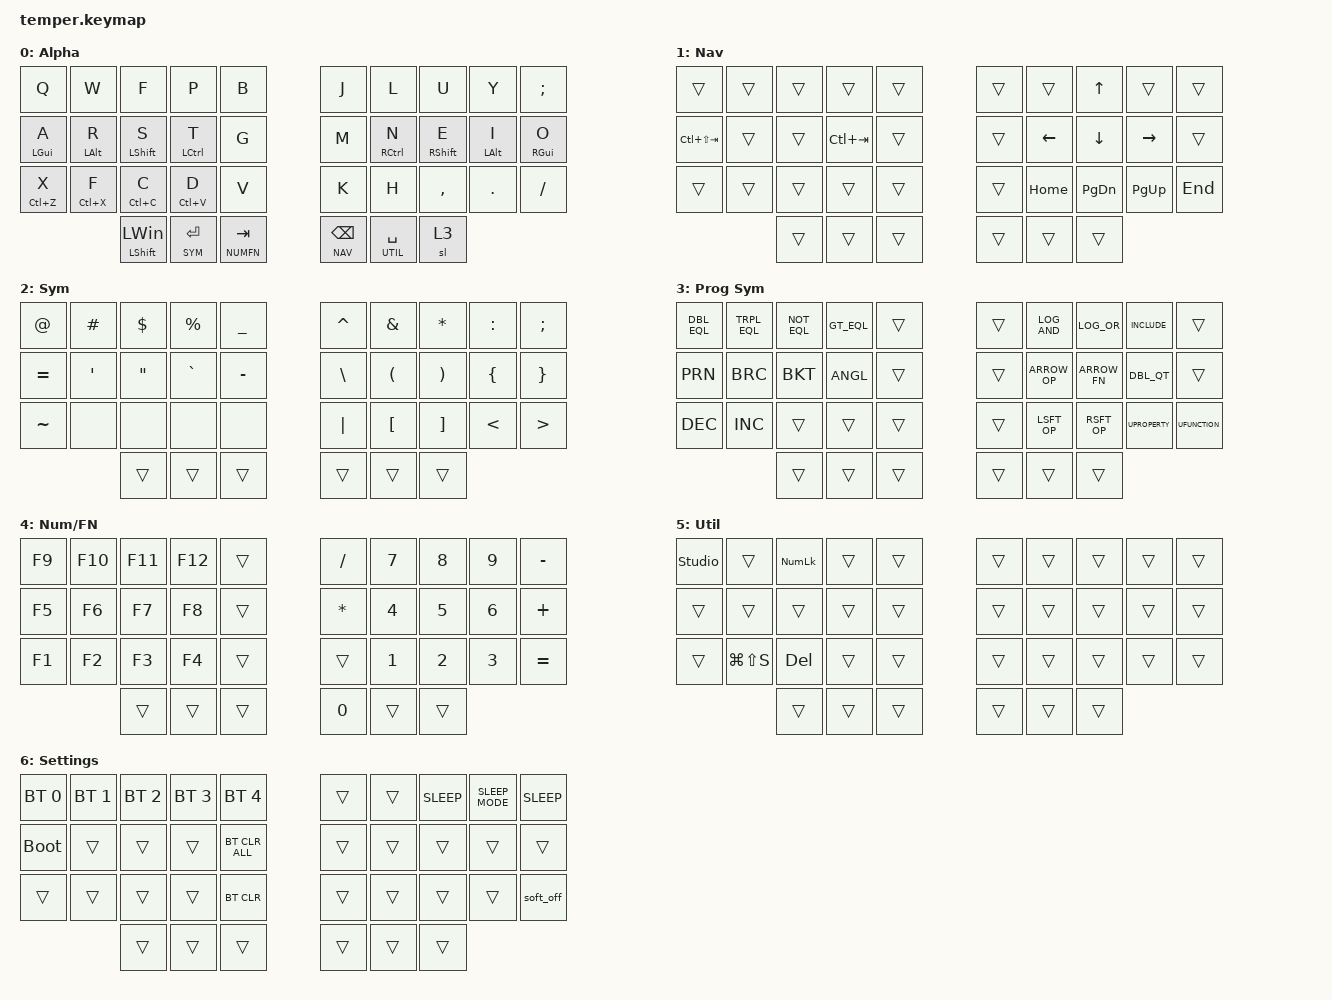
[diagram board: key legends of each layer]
/*
 * Copyright (c) 2020 The ZMK Contributors
 *
 * SPDX-License-Identifier: MIT
 */

#include "layers.conf"
#include "macros.conf"
#include <behaviors.dtsi>
#include <dt-bindings/zmk/bt.h>
#include <dt-bindings/zmk/keys.h>

/ {
macros {
        LOG_AND: LOG_AND {
            compatible = "zmk,behavior-macro";
            #binding-cells = <0>;
            bindings = <&macro_tap>, <&kp AMPS &kp AMPS>;
        };

        LOG_OR: LOG_OR {
            compatible = "zmk,behavior-macro";
            #binding-cells = <0>;
            bindings = <&macro_tap>, <&kp PIPE &kp PIPE>;
        };

        INCLUDE: INCLUDE {
            compatible = "zmk,behavior-macro";
            #binding-cells = <0>;
            bindings =
                <&macro_tap>,
                <&kp I &kp N &kp C &kp L &kp U &kp D &kp E &kp DQT &kp DQT &kp LEFT>;
        };

        ARROW_OP: ARROW_OP {
            compatible = "zmk,behavior-macro";
            #binding-cells = <0>;
            bindings = <&macro_tap>, <&kp MINUS &kp GT>;
        };

        ARROW_FN: ARROW_FN {
            compatible = "zmk,behavior-macro";
            #binding-cells = <0>;
            bindings = <&macro_tap>, <&kp EQUAL &kp GT>;
        };

        DBL_QT: DBL_QT {
            compatible = "zmk,behavior-macro";
            #binding-cells = <0>;
            bindings = <&macro_tap>, <&kp DQT &kp DQT &kp LEFT>;
        };

        LSFT_OP: LSFT_OP {
            compatible = "zmk,behavior-macro";
            #binding-cells = <0>;
            bindings = <&macro_tap>, <&kp LT &kp LT>;
        };

        RSFT_OP: RSFT_OP {
            compatible = "zmk,behavior-macro";
            #binding-cells = <0>;
            bindings = <&macro_tap>, <&kp GT &kp GT>;
        };

        UPROPERTY: UPROPERTY {
            compatible = "zmk,behavior-macro";
            #binding-cells = <0>;
            bindings =
                <&macro_tap>,
                <&kp LS(U) &kp LS(P) &kp LS(R) &kp LS(O) &kp LS(P) &kp LS(E) &kp LS(R) &kp LS(T) &kp LS(Y) &kp LPAR &kp RPAR &kp LEFT>;
        };

        UFUNCTION: UFUNCTION {
            compatible = "zmk,behavior-macro";
            #binding-cells = <0>;
            bindings =
                <&macro_tap>,
                <&kp LS(U) &kp LS(F) &kp LS(U) &kp LS(N) &kp LS(C) &kp LS(T) &kp LS(I) &kp LS(O) &kp LS(N) &kp LPAR &kp RPAR &kp LEFT>,
                <&macro_press>;
        };

        DBL_EQL: DBL_EQL {
            compatible = "zmk,behavior-macro";
            #binding-cells = <0>;
            bindings = <&macro_tap>, <&kp EQUAL &kp EQUAL>;
        };

        TRPL_EQL: TRPL_EQL {
            compatible = "zmk,behavior-macro";
            #binding-cells = <0>;
            bindings = <&macro_tap>, <&kp EQUAL &kp EQUAL &kp EQUAL>;
        };

        NOT_EQL: NOT_EQL {
            compatible = "zmk,behavior-macro";
            #binding-cells = <0>;
            bindings = <&macro_tap>, <&kp EXCL &kp EQUAL>;
        };

        GT_EQL: GT_EQL {
            compatible = "zmk,behavior-macro";
            #binding-cells = <0>;
            bindings = <&macro_tap>, <&kp GT &kp EQUAL>;
        };

        LT_EQL: LT_EQL {
            compatible = "zmk,behavior-macro";
            #binding-cells = <0>;
            bindings = <&macro_tap>, <&kp LT &kp EQUAL>;
        };

        PRN: PRN {
            compatible = "zmk,behavior-macro";
            #binding-cells = <0>;
            bindings = <&macro_tap>, <&kp LPAR &kp RPAR &kp LEFT>;
        };

        BRC: BRC {
            compatible = "zmk,behavior-macro";
            #binding-cells = <0>;
            bindings = <&macro_tap>, <&kp LBRC &kp RBRC &kp LEFT>;
        };

        BKT: BKT {
            compatible = "zmk,behavior-macro";
            #binding-cells = <0>;
            bindings = <&macro_tap>, <&kp LBKT &kp RBKT &kp LEFT>;
        };

        ANGL: ANGL {
            compatible = "zmk,behavior-macro";
            #binding-cells = <0>;
            bindings = <&macro_tap>, <&kp LT &kp GT &kp LEFT>;
        };

        INC: INC {
            compatible = "zmk,behavior-macro";
            #binding-cells = <0>;
            bindings = <&macro_tap>, <&kp PLUS &kp PLUS>;
        };

        DEC: DEC {
            compatible = "zmk,behavior-macro";
            #binding-cells = <0>;
            bindings = <&macro_tap>, <&kp MINUS &kp MINUS>;
        };
    };
    behaviors {
        hm: homerow_mods {
            compatible = "zmk,behavior-hold-tap";
            #binding-cells = <2>;
            tapping-term-ms = <200>;
            flavor = "tap-preferred";
            bindings = <&kp>, <&kp>;
        };

        kp_sl: behavior_kp_sl {
            compatible = "zmk,behavior-hold-tap";
            #binding-cells = <2>;
            flavor = "hold-preferred";
            tapping-term-ms = <200>;
            bindings = <&sl>, <&kp>;
        };

        ht: behavior_hold_tap_key {
            compatible = "zmk,behavior-hold-tap";
            #binding-cells = <2>;
            flavor = "hold-preferred";
            tapping-term-ms = <300>;
            bindings = <&kp>, <&kp>;
        };

        bspc_del: backspace_delete {
            compatible = "zmk,behavior-mod-morph";
            #binding-cells = <0>;
            bindings = <&kp BACKSPACE>, <&kp DELETE>;

            mods = <(MOD_LSFT|MOD_RSFT)>;
            keep-mods = <(MOD_RSFT)>;
        };

        super_bspc: super_backspace {
            compatible = "zmk,behavior-mod-morph";
            #binding-cells = <0>;
            bindings = <&kp BACKSPACE>, <&kp LA(BACKSPACE)>;

            mods = <(MOD_LSFT|MOD_RSFT)>;
        };

        smart_shft: smart_shift {
            compatible = "zmk,behavior-mod-morph";
            #binding-cells = <0>;
            bindings = <&kp LSHFT>, <&caps_word>;

            mods = <(MOD_LSFT)>;
        };

        comma_semi: comma_semi {
            compatible = "zmk,behavior-mod-morph";
            #binding-cells = <0>;
            bindings = <&kp COMMA>, <&kp SEMI>;

            mods = <(MOD_LSFT)>;
        };

        dot_colon: dot_colon {
            compatible = "zmk,behavior-mod-morph";
            #binding-cells = <0>;
            bindings = <&kp DOT>, <&kp COLON>;

            mods = <(MOD_LSFT)>;
        };

        qmrk_excl: qmrk_excl {
            compatible = "zmk,behavior-mod-morph";
            #binding-cells = <0>;
            bindings = <&kp QMARK>, <&kp EXCL>;

            mods = <(MOD_LSFT)>;
        };

        slh_morph: slh_morph {
            compatible = "zmk,behavior-mod-morph";
            #binding-cells = <0>;
            bindings = <&kp FSLH>, <&kp BSLH>;

            mods = <(MOD_LSFT)>;
        };

        amps_morph: amps_morph {
            compatible = "zmk,behavior-mod-morph";
            #binding-cells = <0>;
            bindings = <&kp AMPS>, <&kp PIPE>;

            mods = <(MOD_LSFT)>;
        };
    };

    conditional_layers {
        compatible = "zmk,conditional-layers";

        settings_trigger {
            if-layers = <1 4>;
            then-layer = <6>;
        };
    };

    combos { compatible = "zmk,combos"; };

    keymap {
        compatible = "zmk,keymap";

        default_layer {
            display-name = "Alpha";
            bindings = <
  &kp Q        &kp W        &kp F                    &kp P          &kp B            &kp J              &kp L           &kp U        &kp Y       &kp SEMICOLON
  &hm LGUI A   &hm LALT R   &hm LSHFT S              &hm LCTRL T    &kp G            &kp M              &hm RCTRL N     &hm RSHFT E  &hm LALT I  &hm RGUI O
  &mt LC(Z) X  &mt LC(X) F  &mt LC(C) C              &mt LC(V) D    &kp V            &kp K              &kp H           &kp COMMA    &kp PERIOD  &kp SLASH
                            &ht LEFT_SHIFT LEFT_WIN  &lt SYM ENTER  &lt NUMFN TAB    &lt NAV BACKSPACE  &lt UTIL SPACE  &sl 3
            >;
        };

        nav_layer {
            display-name = "Nav";
            bindings = <
  &trans           &trans  &trans  &trans       &trans    &trans  &trans    &kp UP     &trans     &trans
  &kp LC(LS(TAB))  &trans  &trans  &kp LC(TAB)  &trans    &trans  &kp LEFT  &kp DOWN   &kp RIGHT  &trans
  &trans           &trans  &trans  &trans       &trans    &trans  &kp HOME  &kp PG_DN  &kp PG_UP  &kp END
                           &trans  &trans       &trans    &trans  &trans    &trans
            >;
        };

        sym_layer {
            display-name = "Sym";
            bindings = <
  &kp AT     &kp HASH  &kp DLLR  &kp PRCNT  &kp UNDER    &kp CARET  &kp AMPS  &kp STAR  &kp COLON  &kp SEMI
  &kp EQUAL  &kp APOS  &kp DQT   &kp GRAVE  &kp MINUS    &kp BSLH   &kp LPAR  &kp RPAR  &kp LBRC   &kp RBRC
  &kp TILDE  &none     &none     &none      &none        &kp PIPE   &kp LBKT  &kp RBKT  &kp LT     &kp GT
                       &trans    &trans     &trans       &trans     &trans    &trans
            >;
        };

        prog_sym_layer {
            display-name = "Prog Sym";
            bindings = <
  &DBL_EQL  &TRPL_EQL  &NOT_EQL  &GT_EQL  &trans    &trans  &LOG_AND   &LOG_OR    &INCLUDE    &trans
  &PRN      &BRC       &BKT      &ANGL    &trans    &trans  &ARROW_OP  &ARROW_FN  &DBL_QT     &trans
  &DEC      &INC       &trans    &trans   &trans    &trans  &LSFT_OP   &RSFT_OP   &UPROPERTY  &UFUNCTION
                       &trans    &trans   &trans    &trans  &trans     &trans
            >;
        };

        //                qwerty_layer {
        //                        bindings = <
        // ╭─────────────┬─────────────┬─────────────┬─────────────┬─────────────╮   ╭─────────────┬─────────────┬─────────────┬─────────────┬─────────────╮
        //        &kp Q         &kp W         &kp E         &kp R         &kp T              &kp Y        &kp U         &kp I         &kp O         &kp P   
        // ├─────────────┼─────────────┼─────────────┼─────────────┼─────────────┤   ├─────────────┼─────────────┼─────────────┼─────────────┼─────────────┤
        //        &kp A         &kp S         &kp D         &kp F         &kp G              &kp H        &kp J         &kp K         &kp L       &kp SEMI
        // ├─────────────┼─────────────┼─────────────┼─────────────┼─────────────┤   ├─────────────┼─────────────┼─────────────┼─────────────┼─────────────┤
        //        &kp Z         &kp X         &kp C         &kp V         &kp B              &kp N        &kp M       &kp COMMA      &kp DOT      &kp FSLH
        // ╰─────────────┴─────────────┼─────────────┼─────────────┼─────────────┤   ├─────────────┼─────────────┼─────────────┼─────────────┴─────────────╯
        //                                    &trans        &trans        &trans             &trans       &trans        &trans
        //                             ╰─────────────┴─────────────┴─────────────╯   ╰─────────────┴─────────────┴─────────────╯
        //                        >;
        //                };

        numfn_layer {
            display-name = "Num/FN";
            bindings = <
  &kp F9  &kp F10  &kp F11  &kp F12  &trans    &kp SLASH  &kp N7  &kp N8  &kp N9  &kp MINUS
  &kp F5  &kp F6   &kp F7   &kp F8   &trans    &kp STAR   &kp N4  &kp N5  &kp N6  &kp PLUS
  &kp F1  &kp F2   &kp F3   &kp F4   &trans    &trans     &kp N1  &kp N2  &kp N3  &kp EQUAL
                   &trans   &trans   &trans    &kp N0     &trans  &trans
            >;
        };

        util_layer {
            display-name = "Util";
            bindings = <
  &studio_unlock  &trans         &kp KP_NUMLOCK  &trans  &trans    &trans  &trans  &trans  &trans  &trans
  &trans          &trans         &trans          &trans  &trans    &trans  &trans  &trans  &trans  &trans
  &trans          &kp LG(LS(S))  &kp DEL         &trans  &trans    &trans  &trans  &trans  &trans  &trans
                                 &trans          &trans  &trans    &trans  &trans  &trans
            >;
        };

        settings_layer {
            display-name = "Settings";
            bindings = <
  &bt BT_SEL 0  &bt BT_SEL 1  &bt BT_SEL 2  &bt BT_SEL 3  &bt BT_SEL 4      &trans  &trans  &kp K_SLEEP  &kp C_SLEEP_MODE  &kp C_SLEEP
  &bootloader   &trans        &trans        &trans        &bt BT_CLR_ALL    &trans  &trans  &trans       &trans            &trans
  &trans        &trans        &trans        &trans        &bt BT_CLR        &trans  &trans  &trans       &trans            &soft_off
                              &trans        &trans        &trans            &trans  &trans  &trans
            >;
        };

        //                fun_layer {
        //                        bindings = <
        // ╭─────────────┬─────────────┬─────────────┬─────────────┬─────────────╮   ╭─────────────┬─────────────┬─────────────┬─────────────┬─────────────╮
        //     &tog QWERTY   &kp K_MUTE    &kp C_VOL_DN  &kp C_VOL_UP  &out OUT_TOG         &trans        &kp F7        &kp F8        &kp F9       &kp F12
        // ├─────────────┼─────────────┼─────────────┼─────────────┼─────────────┤   ├─────────────┼─────────────┼─────────────┼─────────────┼─────────────┤
        //     &bt BT_SEL 0  &bt BT_SEL 1  &bt BT_SEL 2  &bt BT_SEL 3  &bt BT_SEL 4         &trans        &kp F4        &kp F5        &kp F6       &kp F11
        // ├─────────────┼─────────────┼─────────────┼─────────────┼─────────────┤   ├─────────────┼─────────────┼─────────────┼─────────────┼─────────────┤
        //      &bt BT_CLR    &kp C_PREV     &kp C_PP     &kp C_NEXT      &trans            &trans        &kp F1        &kp F2        &kp F3       &kp F10
        // ╰─────────────┴─────────────┼─────────────┼─────────────┼─────────────┤   ├─────────────┼─────────────┼─────────────┼─────────────┴─────────────╯
        //                                    &trans        &trans        &trans            &trans        &trans        &trans
        //                             ╰─────────────┴─────────────┴─────────────╯   ╰─────────────┴─────────────┴─────────────╯
        //                        >;
        //                };
    };
};
